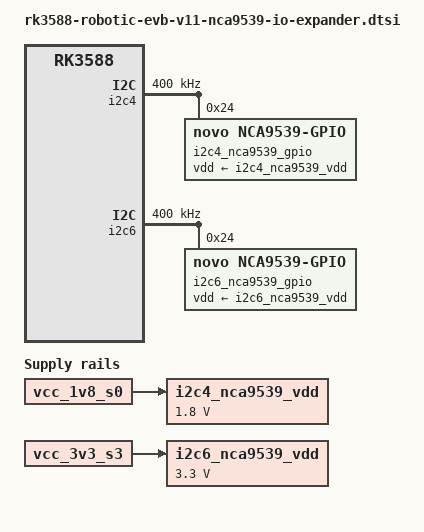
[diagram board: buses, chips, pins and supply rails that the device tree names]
// SPDX-License-Identifier: (GPL-2.0+ OR MIT)
/*
 * Copyright (c) 2025 Rockchip Electronics Co., Ltd.
 *
 */

/ {
	i2c4_nca9539_vdd: i2c4-nca9539-vdd {
		compatible = "regulator-fixed";
		regulator-name = "i2c4_nca9539_vdd";
		regulator-boot-on;
		regulator-always-on;
		regulator-min-microvolt = <1800000>;
		regulator-max-microvolt = <1800000>;
		startup-delay-us = <20>; // NCA9539 POR
		vin-supply = <&vcc_1v8_s0>;
	};

	i2c6_nca9539_vdd: i2c6-nca9539-vdd {
		compatible = "regulator-fixed";
		regulator-name = "i2c6_nca9539_vdd";
		regulator-boot-on;
		regulator-always-on;
		regulator-min-microvolt = <3300000>;
		regulator-max-microvolt = <3300000>;
		startup-delay-us = <20>; // NCA9539 POR
		vin-supply = <&vcc_3v3_s3>;
	};
};

&i2c4 {
	clock-frequency = <400000>;
	pinctrl-names = "default";
	pinctrl-0 = <&i2c4m1_xfer>;
	status = "okay";

	i2c4_nca9539_gpio: gpio-exp@24 {
		compatible = "novo,nca9539-gpio";
		reg = <0x24>;
		gpio-controller;
		#gpio-cells = <2>;
		ngpios = <16>;
		interrupt-controller;
		#interrupt-cells = <2>;
		vdd-supply = <&i2c4_nca9539_vdd>;
		status = "okay";
	};
};

&i2c6 {
	clock-frequency = <400000>;
	pinctrl-names = "default";
	pinctrl-0 = <&i2c6m0_xfer>;
	status = "okay";

	i2c6_nca9539_gpio: gpio-exp@24 {
		compatible = "novo,nca9539-gpio";
		reg = <0x24>;
		gpio-controller;
		#gpio-cells = <2>;
		ngpios = <16>;
		interrupt-controller;
		#interrupt-cells = <2>;
		vdd-supply = <&i2c6_nca9539_vdd>;
		status = "okay";
	};
};
